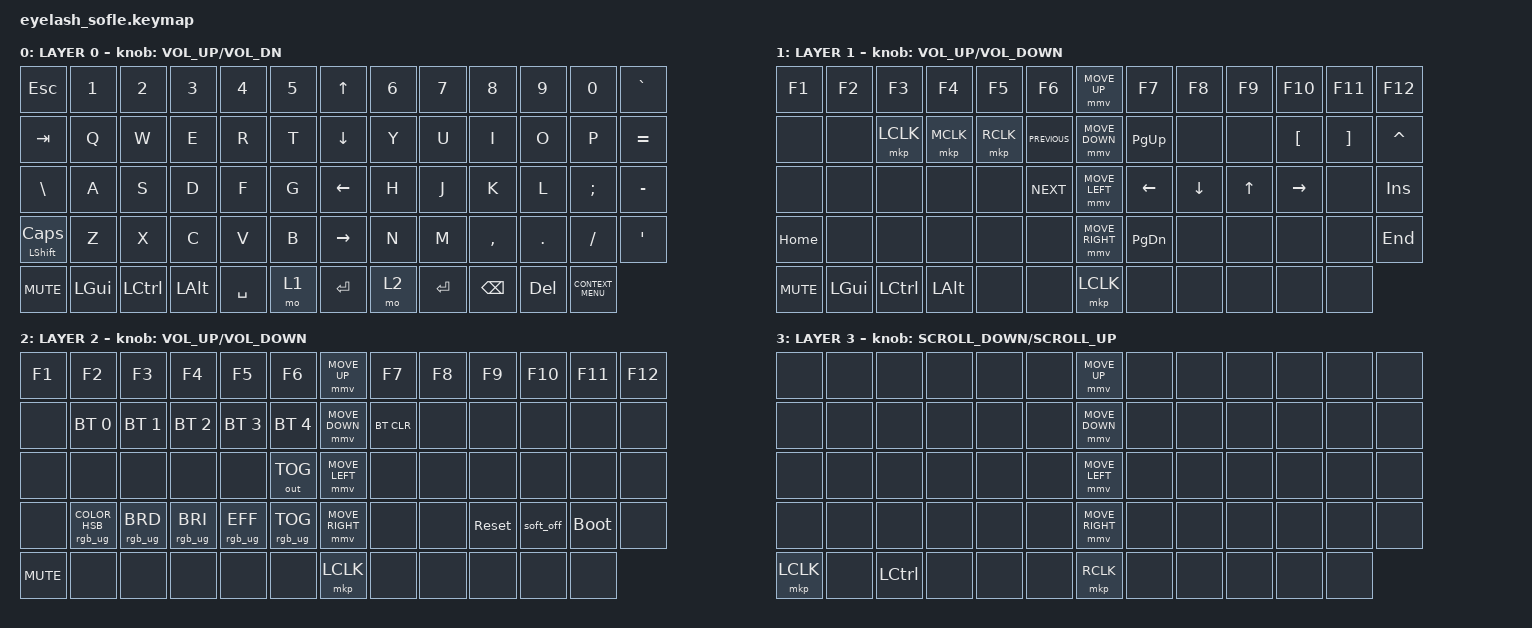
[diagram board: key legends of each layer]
#define ZMK_POINTING_DEFAULT_MOVE_VAL 1200  // 600
#define ZMK_POINTING_DEFAULT_SCRL_VAL 25   // 10

#include <input/processors.dtsi>
#include <zephyr/dt-bindings/input/input-event-codes.h>
#include <behaviors.dtsi>
#include <dt-bindings/zmk/bt.h>
#include <dt-bindings/zmk/keys.h>
#include <dt-bindings/zmk/outputs.h>
#include <dt-bindings/zmk/pointing.h>
#include <dt-bindings/zmk/rgb.h>

&mmv_input_listener { input-processors = <&zip_xy_scaler 2 1>; };

&msc_input_listener { input-processors = <&zip_scroll_scaler 2 1>; };

&msc {
    acceleration-exponent = <1>;      // 0
    time-to-max-speed-ms = <100>;       // 300
    delay-ms = <0>;                   // 0
};

&mmv {
    time-to-max-speed-ms = <500>;
    acceleration-exponent = <1>;
    trigger-period-ms = <16>;
};

&soft_off { hold-time-ms = <2000>; };

/ {
    scroll_encoder: scroll_encoder {
        compatible = "zmk,behavior-sensor-rotate";
        #sensor-binding-cells = <0>;
        bindings = <&msc SCRL_DOWN>, <&msc SCRL_UP>;

        tap-ms = <100>;
    };

    vertical_scroll: vertical_scroll {
        compatible = "zmk,behavior-sensor-rotate";
        label = "VERTICAL_SCROLL";
        #sensor-binding-cells = <0>;
        bindings = <&msc SCRL_UP>, <&msc SCRL_DOWN>;
    };

    horizontal_scroll: horizontal_scroll {
        compatible = "zmk,behavior-sensor-rotate";
        label = "HORIZONTAL_SCROLL";
        #sensor-binding-cells = <0>;
        bindings = <&msc SCRL_RIGHT>, <&msc SCRL_LEFT>;
    };

    behaviors {
    };

    combos {
        compatible = "zmk,combos";

        toggle-3 {
            bindings = <&tog 3>;
            key-positions = <57 59>;
        };
    };

    keymap {
        compatible = "zmk,keymap";

        layer_0 {
            bindings = <
&kp ESC             &kp N1        &kp N2            &kp N3        &kp N4     &kp N5    &kp UP_ARROW     &kp N6  &kp N7     &kp N8         &kp N9      &kp N0              &kp GRAVE
&kp TAB             &kp Q         &kp W             &kp E         &kp R      &kp T     &kp DOWN_ARROW   &kp Y   &kp U      &kp I          &kp O       &kp P               &kp EQUAL
&kp BACKSLASH       &kp A         &kp S             &kp D         &kp F      &kp G     &kp LEFT_ARROW   &kp H   &kp J      &kp K          &kp L       &kp SEMI            &kp MINUS
&mt LSHFT CAPSLOCK  &kp Z         &kp X             &kp C         &kp V      &kp B     &kp RIGHT_ARROW  &kp N   &kp M      &kp COMMA      &kp DOT     &kp FSLH            &kp APOS
&kp C_MUTE          &kp LEFT_GUI  &kp LEFT_CONTROL  &kp LEFT_ALT  &kp SPACE  &mo 1     &kp ENTER        &mo 2   &kp ENTER  &kp BACKSPACE  &kp DELETE  &kp K_CONTEXT_MENU
            >;

            sensor-bindings = <&inc_dec_kp C_VOLUME_UP C_VOL_DN>;
            display-name = "LAYER 0";
        };

        layer_1 {
            bindings = <
&kp F1      &kp F2        &kp F3            &kp F4        &kp F5     &kp F6            &mmv MOVE_UP     &kp F7     &kp F8          &kp F9        &kp F10           &kp F11            &kp F12
&none       &none         &mkp LCLK         &mkp MCLK     &mkp RCLK  &kp C_PREVIOUS    &mmv MOVE_DOWN   &kp PG_UP  &none           &none         &kp LEFT_BRACKET  &kp RIGHT_BRACKET  &kp CARET
&none       &none         &none             &none         &none      &kp C_NEXT        &mmv MOVE_LEFT   &kp LEFT   &kp DOWN_ARROW  &kp UP_ARROW  &kp RIGHT         &none              &kp INS
&kp HOME    &none         &none             &none         &none      &none             &mmv MOVE_RIGHT  &kp PG_DN  &none           &none         &none             &none              &kp END
&kp C_MUTE  &kp LEFT_GUI  &kp LEFT_CONTROL  &kp LEFT_ALT  &none      &none             &mkp LCLK        &none      &none           &none         &none             &none
            >;

            display-name = "LAYER 1";
            sensor-bindings = <&inc_dec_kp C_VOLUME_UP C_VOLUME_DOWN>;
        };

        layer_2 {
            bindings = <
&kp F1      &kp F2                            &kp F3           &kp F4           &kp F5           &kp F6             &mmv MOVE_UP     &kp F7      &kp F8  &kp F9      &kp F10    &kp F11      &kp F12
&none       &bt BT_SEL 0                      &bt BT_SEL 1     &bt BT_SEL 2     &bt BT_SEL 3     &bt BT_SEL 4       &mmv MOVE_DOWN   &bt BT_CLR  &none   &none       &none      &none        &none
&none       &none                             &none            &none            &none            &out OUT_TOG       &mmv MOVE_LEFT   &none       &none   &none       &none      &none        &none
&none       &rgb_ug RGB_COLOR_HSB(261,97,38)  &rgb_ug RGB_BRD  &rgb_ug RGB_BRI  &rgb_ug RGB_EFF  &rgb_ug RGB_TOG    &mmv MOVE_RIGHT  &none       &none   &sys_reset  &soft_off  &bootloader  &none
&kp C_MUTE  &none                             &none            &none            &none            &none              &mkp LCLK        &none       &none   &none       &none      &none
            >;

            sensor-bindings = <&inc_dec_kp C_VOLUME_UP C_VOLUME_DOWN>;
            label = "LAYER 2";
        };

        layer_3 {
            bindings = <
&none      &none  &none      &none  &none  &none    &mmv MOVE_UP     &none  &none  &none  &none  &none  &none
&none      &none  &none      &none  &none  &none    &mmv MOVE_DOWN   &none  &none  &none  &none  &none  &none
&none      &none  &none      &none  &none  &none    &mmv MOVE_LEFT   &none  &none  &none  &none  &none  &none
&none      &none  &none      &none  &none  &none    &mmv MOVE_RIGHT  &none  &none  &none  &none  &none  &none
&mkp LCLK  &none  &kp LCTRL  &none  &none  &none    &mkp RCLK        &none  &none  &none  &none  &none
            >;

            sensor-bindings = <&inc_dec_kp K_SCROLL_DOWN K_SCROLL_UP>;
            label = "LAYER 3";
        };
    };
};
